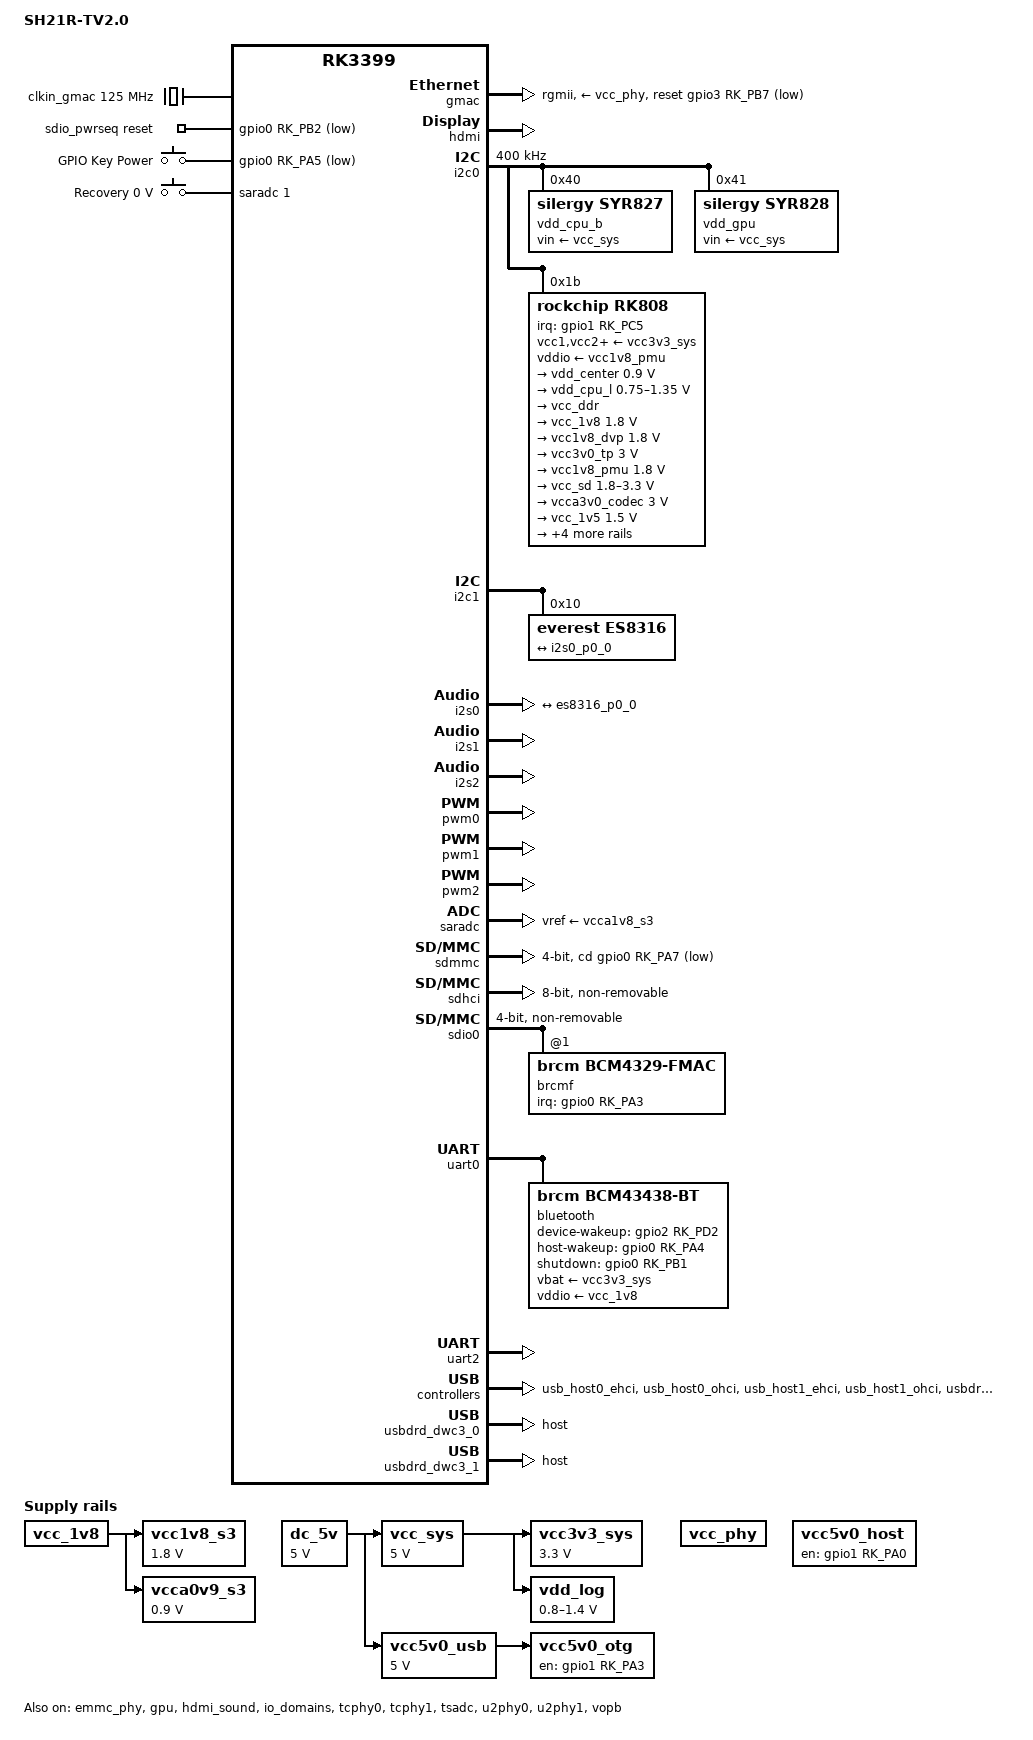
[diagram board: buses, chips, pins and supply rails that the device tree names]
// SPDX-License-Identifier: (GPL-2.0+ OR MIT)
/dts-v1/;
#include <dt-bindings/pwm/pwm.h>
#include <dt-bindings/input/input.h>
#include <dt-bindings/interrupt-controller/irq.h>
#include "rk3399.dtsi"

/ {
	model = "SH21R-TV2.0";
	compatible = "rockchip,rk3399-sh21r", "rockchip,rk3399";

	aliases {
		ethernet0 = &gmac;
		mmc0 = &sdio0;
		mmc1 = &sdmmc;
		mmc2 = &sdhci;
	};

	chosen {
		stdout-path = "serial2:1500000n8";
	};

	clkin_gmac: external-gmac-clock {
		compatible = "fixed-clock";
		clock-frequency = <125000000>;
		clock-output-names = "clkin_gmac";
		#clock-cells = <0>;
	};

	dc_5v: regulator-dc-5v {
		compatible = "regulator-fixed";
		regulator-name = "dc_5v";
		regulator-always-on;
		regulator-boot-on;
		regulator-min-microvolt = <5000000>;
		regulator-max-microvolt = <5000000>;
	};


	vcc_sys: regulator-vcc-sys {
		compatible = "regulator-fixed";
		regulator-name = "vcc_sys";
		regulator-min-microvolt = <5000000>;
		regulator-max-microvolt = <5000000>;
		regulator-always-on;
		vin-supply = <&dc_5v>;
	};

	vcc_phy: regulator-vcc-phy {
		compatible = "regulator-fixed";
		regulator-name = "vcc_phy";
		regulator-always-on;
		regulator-boot-on;
	};

	/* switched by pmic_sleep */
	vcc1v8_s3: vcca1v8_s3: vcc1v8-s3 {
		compatible = "regulator-fixed";
		regulator-name = "vcc1v8_s3";
		regulator-always-on;
		regulator-boot-on;
		regulator-min-microvolt = <1800000>;
		regulator-max-microvolt = <1800000>;
		vin-supply = <&vcc_1v8>;
	};

	vcca0v9_s3: regulator-vcca0v9-s3 {
		compatible = "regulator-fixed";
		regulator-name = "vcca0v9_s3";
		regulator-always-on;
		regulator-boot-on;
		regulator-min-microvolt = <900000>;
		regulator-max-microvolt = <900000>;
		vin-supply = <&vcc_1v8>;
	};

	vcc3v3_sys: regulator-vcc3v3-sys {
		compatible = "regulator-fixed";
		regulator-name = "vcc3v3_sys";
		regulator-min-microvolt = <3300000>;
		regulator-max-microvolt = <3300000>;
		regulator-always-on;
		vin-supply = <&vcc_sys>;
	};

	vcc5v0_host: regulator-vcc5v0-host {
		compatible = "regulator-fixed";
		enable-active-high;
		gpio = <&gpio1 RK_PA0 GPIO_ACTIVE_HIGH>;
		pinctrl-names = "default";
		pinctrl-0 = <&host_vbus_drv>;
		regulator-name = "vcc5v0_host";
		regulator-always-on;
	};

	vcc5v0_otg: regulator-vcc5v0-otg {
		compatible = "regulator-fixed";
		enable-active-high;
		gpio = <&gpio1 RK_PA3 GPIO_ACTIVE_HIGH>;
		pinctrl-names = "default";
		pinctrl-0 = <&otg_vbus_drv>;
		regulator-name = "vcc5v0_otg";
		regulator-always-on;
		vin-supply = <&vcc5v0_usb>;
	};

	vcc5v0_usb: regulator-vcc5v0-usb {
		compatible = "regulator-fixed";
		regulator-name = "vcc5v0_usb";
		regulator-always-on;
		regulator-boot-on;
		regulator-min-microvolt = <5000000>;
		regulator-max-microvolt = <5000000>;
		vin-supply = <&dc_5v>;
	};

	vdd_log: regulator-vdd-log {
		compatible = "pwm-regulator";
		pwms = <&pwm2 0 25000 1>;
		pwm-supply = <&vcc_sys>;
		regulator-name = "vdd_log";
		regulator-min-microvolt = <800000>;
		regulator-max-microvolt = <1400000>;
		regulator-always-on;
		regulator-boot-on;
	};

	sdio_pwrseq: sdio-pwrseq {
		compatible = "mmc-pwrseq-simple";
		clocks = <&rk808 1>;
		clock-names = "ext_clock";
		pinctrl-names = "default";
		pinctrl-0 = <&wifi_reg_on_h>;
		reset-gpios = <&gpio0 RK_PB2 GPIO_ACTIVE_LOW>;
	};

	gpio-keys {
		compatible = "gpio-keys";
		autorepeat;
		pinctrl-names = "default";
		pinctrl-0 = <&power_key>;

		key-power {
			debounce-interval = <100>;
			gpios = <&gpio0 RK_PA5 GPIO_ACTIVE_LOW>;
			label = "GPIO Key Power";
			linux,code = <KEY_POWER>;
			wakeup-source;
		};
	};

	adc-keys {
		compatible = "adc-keys";
		io-channels = <&saradc 1>;
		io-channel-names = "buttons";
		keyup-threshold-microvolt = <1750000>;
		poll-interval = <100>;

		recovery {
			label = "Recovery";
			linux,code = <KEY_VENDOR>;
			press-threshold-microvolt = <0>;
		};
	};

	relay-default-pins {
		compatible = "rockchip,pinctrl-only";
		pinctrl-names = "default";
		pinctrl-0 = <&relay1_default &relay2_default>;
	};

	/* Audio components */
	es8316-sound {
		compatible = "simple-audio-card";
		simple-audio-card,name = "rockchip,es8316-codec";
		simple-audio-card,format = "i2s";
		simple-audio-card,mclk-fs = <256>;

		simple-audio-card,widgets =
			"Microphone", "Mic Jack",
			"Headphone", "Headphones",
			"Speaker", "Speaker";
		simple-audio-card,routing =
			"MIC1", "Mic Jack",
			"Headphones", "HPOL",
			"Headphones", "HPOR",
			"Speaker Amplifier INL", "HPOL",
			"Speaker Amplifier INR", "HPOR",
			"Speaker", "Speaker Amplifier OUTL",
			"Speaker", "Speaker Amplifier OUTR";

		simple-audio-card,cpu {
			sound-dai = <&i2s0>;
		};

		simple-audio-card,codec {
			sound-dai = <&es8316>;
		};
	};

};

&cpu_l0 {
	cpu-supply = <&vdd_cpu_l>;
};

&cpu_l1 {
	cpu-supply = <&vdd_cpu_l>;
};

&cpu_l2 {
	cpu-supply = <&vdd_cpu_l>;
};

&cpu_l3 {
	cpu-supply = <&vdd_cpu_l>;
};

&cpu_b0 {
	cpu-supply = <&vdd_cpu_b>;
};

&cpu_b1 {
	cpu-supply = <&vdd_cpu_b>;
};

&emmc_phy {
	status = "okay";
};

&gmac {
	assigned-clocks = <&cru SCLK_RMII_SRC>;
	assigned-clock-parents = <&clkin_gmac>;
	clock_in_out = "input";
	phy-supply = <&vcc_phy>;
	phy-mode = "rgmii";
	pinctrl-names = "default";
	pinctrl-0 = <&rgmii_pins>;
	snps,reset-gpio = <&gpio3 RK_PB7 GPIO_ACTIVE_LOW>;
	snps,reset-active-low;
	snps,reset-delays-us = <0 10000 50000>;
	tx_delay = <0x28>;
	rx_delay = <0x11>;
	status = "okay";
};

&gpu {
	status = "okay";
	mali-supply = <&vdd_gpu>;
};

&hdmi {
	avdd-0v9-supply = <&vcca0v9_s3>;
	avdd-1v8-supply = <&vcca1v8_s3>;
	ddc-i2c-bus = <&i2c3>;
	pinctrl-names = "default";
	pinctrl-0 = <&hdmi_cec>;
	status = "okay";
};

&hdmi_sound {
	status = "okay";
};

&i2c0 {
	status = "okay";
	i2c-scl-rising-time-ns = <168>;
	i2c-scl-falling-time-ns = <4>;
	clock-frequency = <400000>;

	vdd_cpu_b: regulator@40 {
		compatible = "silergy,syr827";
		reg = <0x40>;
		fcs,suspend-voltage-selector = <1>;
		pinctrl-names = "default";
		pinctrl-0 = <&cpu_b_sleep>;
		regulator-name = "vdd_cpu_b";
		regulator-min-microvolt = <712500>;
		regulator-max-microvolt = <1500000>;
		regulator-ramp-delay = <1000>;
		regulator-always-on;
		regulator-boot-on;
		vin-supply = <&vcc_sys>;

		regulator-state-mem {
			regulator-off-in-suspend;
		};
	};

	vdd_gpu: regulator@41 {
		compatible = "silergy,syr828";
		reg = <0x41>;
		fcs,suspend-voltage-selector = <1>;
		pinctrl-names = "default";
		pinctrl-0 = <&gpu_sleep>;
		regulator-name = "vdd_gpu";
		regulator-min-microvolt = <712500>;
		regulator-max-microvolt = <1500000>;
		regulator-ramp-delay = <1000>;
		regulator-always-on;
		regulator-boot-on;
		vin-supply = <&vcc_sys>;

		regulator-state-mem {
			regulator-off-in-suspend;
		};
	};

	rk808: pmic@1b {
		compatible = "rockchip,rk808";
		reg = <0x1b>;
		interrupt-parent = <&gpio1>;
		interrupts = <RK_PC5 IRQ_TYPE_LEVEL_LOW>;
		pinctrl-names = "default";
		pinctrl-0 = <&pmic_int_l &pmic_dvs2>;
		system-power-controller;
		wakeup-source;
		#clock-cells = <1>;
		clock-output-names = "xin32k", "rk808-clkout2";

		vcc1-supply = <&vcc3v3_sys>;
		vcc2-supply = <&vcc3v3_sys>;
		vcc3-supply = <&vcc3v3_sys>;
		vcc4-supply = <&vcc3v3_sys>;
		vcc6-supply = <&vcc3v3_sys>;
		vcc7-supply = <&vcc3v3_sys>;
		vcc8-supply = <&vcc3v3_sys>;
		vcc9-supply = <&vcc3v3_sys>;
		vcc10-supply = <&vcc3v3_sys>;
		vcc11-supply = <&vcc3v3_sys>;
		vcc12-supply = <&vcc3v3_sys>;
		vddio-supply = <&vcc1v8_pmu>;

		regulators {
			vdd_center: DCDC_REG1 {
				regulator-name = "vdd_center";
				regulator-always-on;
				regulator-boot-on;
				regulator-min-microvolt = <900000>;
				regulator-max-microvolt = <900000>;
				regulator-ramp-delay = <6001>;
				regulator-state-mem {
					regulator-off-in-suspend;
				};
			};

			vdd_cpu_l: DCDC_REG2 {
				regulator-name = "vdd_cpu_l";
				regulator-always-on;
				regulator-boot-on;
				regulator-min-microvolt = <750000>;
				regulator-max-microvolt = <1350000>;
				regulator-ramp-delay = <6001>;
				regulator-state-mem {
					regulator-off-in-suspend;
				};
			};

			vcc_ddr: DCDC_REG3 {
				regulator-name = "vcc_ddr";
				regulator-always-on;
				regulator-boot-on;
				regulator-state-mem {
					regulator-on-in-suspend;
				};
			};

			vcc_1v8: DCDC_REG4 {
				regulator-name = "vcc_1v8";
				regulator-always-on;
				regulator-boot-on;
				regulator-min-microvolt = <1800000>;
				regulator-max-microvolt = <1800000>;
				regulator-state-mem {
					regulator-on-in-suspend;
					regulator-suspend-microvolt = <1800000>;
				};
			};

			vcc1v8_dvp: LDO_REG1 {
				regulator-name = "vcc1v8_dvp";
				regulator-always-on;
				regulator-boot-on;
				regulator-min-microvolt = <1800000>;
				regulator-max-microvolt = <1800000>;
				regulator-state-mem {
					regulator-off-in-suspend;
				};
			};

			vcc3v0_tp: LDO_REG2 {
				regulator-always-on;
				regulator-boot-on;
				regulator-min-microvolt = <3000000>;
				regulator-max-microvolt = <3000000>;
				regulator-name = "vcc3v0_tp";
				regulator-state-mem {
					regulator-off-in-suspend;
				};
			};

			vcc1v8_pmu: LDO_REG3 {
				regulator-name = "vcc1v8_pmu";
				regulator-always-on;
				regulator-boot-on;
				regulator-min-microvolt = <1800000>;
				regulator-max-microvolt = <1800000>;
				regulator-state-mem {
					regulator-on-in-suspend;
					regulator-suspend-microvolt = <1800000>;
				};
			};

			vcc_sd: LDO_REG4 {
				regulator-name = "vcc_sd";
				regulator-always-on;
				regulator-boot-on;
				regulator-min-microvolt = <1800000>;
				regulator-max-microvolt = <3300000>;
				regulator-state-mem {
					regulator-on-in-suspend;
					regulator-suspend-microvolt = <3300000>;
				};
			};

			vcca3v0_codec: LDO_REG5 {
				regulator-name = "vcca3v0_codec";
				regulator-always-on;
				regulator-boot-on;
				regulator-min-microvolt = <3000000>;
				regulator-max-microvolt = <3000000>;
				regulator-state-mem {
					regulator-off-in-suspend;
				};
			};

			vcc_1v5: LDO_REG6 {
				regulator-name = "vcc_1v5";
				regulator-always-on;
				regulator-boot-on;
				regulator-min-microvolt = <1500000>;
				regulator-max-microvolt = <1500000>;
				regulator-state-mem {
					regulator-on-in-suspend;
					regulator-suspend-microvolt = <1500000>;
				};
			};

			vcca1v8_codec: LDO_REG7 {
				regulator-name = "vcca1v8_codec";
				regulator-always-on;
				regulator-boot-on;
				regulator-min-microvolt = <1800000>;
				regulator-max-microvolt = <1800000>;
				regulator-state-mem {
					regulator-off-in-suspend;
				};
			};

			vcc_3v0: LDO_REG8 {
				regulator-name = "vcc_3v0";
				regulator-always-on;
				regulator-boot-on;
				regulator-min-microvolt = <3000000>;
				regulator-max-microvolt = <3000000>;
				regulator-state-mem {
					regulator-on-in-suspend;
					regulator-suspend-microvolt = <3000000>;
				};
			};

			vcc3v3_s3: SWITCH_REG1 {
				regulator-name = "vcc3v3_s3";
				regulator-always-on;
				regulator-boot-on;
				regulator-state-mem {
					regulator-off-in-suspend;
				};
			};

			vcc3v3_s0: SWITCH_REG2 {
				regulator-name = "vcc3v3_s0";
				regulator-always-on;
				regulator-boot-on;
				regulator-state-mem {
					regulator-off-in-suspend;
				};
			};
		};
	};
};

&i2c1 {
    es8316: codec@10 {
        compatible = "everest,es8316";
        reg = <0x10>;
        clocks = <&cru SCLK_I2S_8CH_OUT>;
        clock-names = "mclk";
        #sound-dai-cells = <0>;

        port {
            es8316_p0_0: endpoint {
                remote-endpoint = <&i2s0_p0_0>;
            };
        };
    };
};

&i2s0 {
    rockchip,playback-channels = <2>;
    rockchip,capture-channels = <2>;
    status = "okay";

    i2s0_p0: port {
        i2s0_p0_0: endpoint {
            dai-format = "i2s";
            mclk-fs = <256>;
            remote-endpoint = <&es8316_p0_0>;
        };
    };
};

&i2s1 {
	rockchip,playback-channels = <2>;
	rockchip,capture-channels = <2>;
	status = "okay";
};

&i2s2 {
	status = "okay";
};

&io_domains {
	status = "okay";
	audio-supply = <&vcca1v8_codec>;
	bt656-supply = <&vcc_3v0>;
	gpio1830-supply = <&vcc_3v0>;
	sdmmc-supply = <&vcc_sd>;
};

&pmu_io_domains {
	status = "okay";
	pmu1830-supply = <&vcc_3v0>;
};

&pinctrl {
	gmac {
		rgmii_sleep_pins: rgmii-sleep-pins {
			rockchip,pins =
				<3 RK_PB7 RK_FUNC_GPIO &pcfg_output_low>;
		};
	};


	pmic {
		pmic_int_l: pmic-int-l {
			rockchip,pins = <1 RK_PC5 RK_FUNC_GPIO &pcfg_pull_up>;
		};

		pmic_dvs2: pmic-dvs2 {
			rockchip,pins = <1 RK_PC2 RK_FUNC_GPIO &pcfg_pull_down>;
		};

		cpu_b_sleep: cpu-b-sleep {
			rockchip,pins = <1 RK_PC1 RK_FUNC_GPIO &pcfg_pull_down>;
		};

		gpu_sleep: gpu-sleep {
			rockchip,pins = <1 RK_PB6 RK_FUNC_GPIO &pcfg_pull_down>;
		};
	};

	sdio {
		bt_host_wake_l: bt-host-wake-l {
			rockchip,pins = <0 RK_PA4 RK_FUNC_GPIO &pcfg_pull_none>;
		};

		bt_reg_on_h: bt-reg-on-h {
			/* external pullup to VCC1V8_PMUPLL */
			rockchip,pins = <0 RK_PB1 RK_FUNC_GPIO &pcfg_pull_none>;
		};

		bt_wake_l: bt-wake-l {
			rockchip,pins = <2 RK_PD2 RK_FUNC_GPIO &pcfg_pull_none>;
		};

		wifi_reg_on_h: wifi-reg_on-h {
			rockchip,pins = <0 RK_PB2 RK_FUNC_GPIO &pcfg_pull_none>;
		};
	};

	wifi {
		wifi_host_wake_l: wifi-host-wake-l {
			rockchip,pins = <0 RK_PA3 RK_FUNC_GPIO &pcfg_pull_none>;
		};
	};

	usb3-otg {
		otg_vbus_drv: otg-vbus-drv {
			rockchip,pins = <1 RK_PA3 RK_FUNC_GPIO &pcfg_pull_none>;
		};
	};

	usb2 {
		host_vbus_drv: host-vbus-drv {
			rockchip,pins =
				<1 RK_PA0 RK_FUNC_GPIO &pcfg_pull_none>;
		};
	};

	buttons {
		power_key: power_key {
			rockchip,pins = <0 RK_PA5 RK_FUNC_GPIO &pcfg_pull_up>;
		};
	};

	relay-pins {
		relay1_default: relay1-pin {
			rockchip,pins = <0 RK_PB5 RK_FUNC_GPIO &pcfg_output_low>;
		};
		relay2_default: relay2-pin {
			rockchip,pins = <4 RK_PD1 RK_FUNC_GPIO &pcfg_output_low>;
		};
	};

	wiegand_in {
		wgin-d0 {
			rockchip,pins = <4 RK_PD3 RK_FUNC_GPIO &pcfg_pull_up>;
		};
		wgin-d1 {
			rockchip,pins = <4 RK_PD0 RK_FUNC_GPIO &pcfg_pull_up>;
		};
	};

	wiegand_out {
		wgout-d0 {
			rockchip,pins = <2 RK_PA5 RK_FUNC_GPIO &pcfg_output_low>;
		};
		wgout-d1 {
			rockchip,pins = <2 RK_PA6 RK_FUNC_GPIO &pcfg_output_low>;
		};
	};
};

&pwm0 {
	status = "okay";
};

&pwm1 {
	status = "okay";
};

&pwm2 {
	status = "okay";
};

&saradc {
	vref-supply = <&vcca1v8_s3>;
	status = "okay";
};

&sdmmc {
	bus-width = <4>;
	cap-sd-highspeed;
	cd-gpios = <&gpio0 RK_PA7 GPIO_ACTIVE_LOW>;
	clock-frequency = <150000000>;
	disable-wp;
	sd-uhs-sdr104;
	max-frequency = <150000000>;
	pinctrl-names = "default";
	pinctrl-0 = <&sdmmc_clk &sdmmc_cmd &sdmmc_cd &sdmmc_bus4>;
	vqmmc-supply = <&vcc_sd>;
	status = "okay";
};

&sdhci {
	bus-width = <8>;
	mmc-hs400-1_8v;
	mmc-hs400-enhanced-strobe;
	non-removable;
	keep-power-in-suspend;
	status = "okay";
};

&sdio0 {
	bus-width = <4>;
	cap-sd-highspeed;
	cap-sdio-irq;
	clock-frequency = <50000000>;
	disable-wp;
	keep-power-in-suspend;
	max-frequency = <50000000>;
	mmc-pwrseq = <&sdio_pwrseq>;
	non-removable;
	pinctrl-names = "default";
	pinctrl-0 = <&sdio0_bus4 &sdio0_cmd &sdio0_clk>;
	sd-uhs-sdr104;
	#address-cells = <1>;
	#size-cells = <0>;
	status = "okay";

	brcmf: wifi@1 {
		reg = <1>;
		compatible = "brcm,bcm4329-fmac";
		interrupt-parent = <&gpio0>;
		interrupts = <RK_PA3 GPIO_ACTIVE_HIGH>;
		interrupt-names = "host-wake";
		brcm,drive-strength = <5>;
		pinctrl-names = "default";
		pinctrl-0 = <&wifi_host_wake_l>;
	};
};

&tcphy0 {
	status = "okay";
};

&tcphy1 {
	status = "okay";
};

&tsadc {
	/* tshut mode 0:CRU 1:GPIO */
	rockchip,hw-tshut-mode = <1>;
	/* tshut polarity 0:LOW 1:HIGH */
	rockchip,hw-tshut-polarity = <1>;
	rockchip,hw-tshut-temp = <110000>;
	status = "okay";
};

&u2phy0 {
	status = "okay";

	u2phy0_host: host-port {
		phy-supply = <&vcc5v0_otg>;
		status = "okay";
	};

	u2phy0_otg: otg-port {
		status = "okay";
	};
};

&u2phy1 {
	status = "okay";

	u2phy1_host: host-port {
		phy-supply = <&vcc5v0_host>;
		status = "okay";
	};

	u2phy1_otg: otg-port {
		status = "okay";
	};
};

&uart0 {
	pinctrl-names = "default";
	pinctrl-0 = <&uart0_xfer &uart0_rts &uart0_cts>;
	status = "okay";

	bluetooth {
		compatible = "brcm,bcm43438-bt";
		clocks = <&rk808 1>;
		clock-names = "ext_clock";
		device-wakeup-gpios = <&gpio2 RK_PD2 GPIO_ACTIVE_HIGH>;
		host-wakeup-gpios = <&gpio0 RK_PA4 GPIO_ACTIVE_HIGH>;
		shutdown-gpios = <&gpio0 RK_PB1 GPIO_ACTIVE_HIGH>;
		max-speed = <4000000>;
		pinctrl-names = "default";
		pinctrl-0 = <&bt_reg_on_h &bt_host_wake_l &bt_wake_l>;
		vbat-supply = <&vcc3v3_sys>;
		vddio-supply = <&vcc_1v8>;
	};
};

&uart2 {
	status = "okay";
};

&usb_host0_ehci {
	status = "okay";
};

&usb_host0_ohci {
	status = "okay";
};

&usb_host1_ehci {
	status = "okay";
};

&usb_host1_ohci {
	status = "okay";
};

&usbdrd3_0 {
	status = "okay";
};

&usbdrd_dwc3_0 {
	status = "okay";
	dr_mode = "host";
};

&usbdrd3_1 {
	status = "okay";
};

&usbdrd_dwc3_1 {
	status = "okay";
	dr_mode = "host";
};

&vopb {
	status = "okay";
};

&vopb_mmu {
	status = "okay";
};
